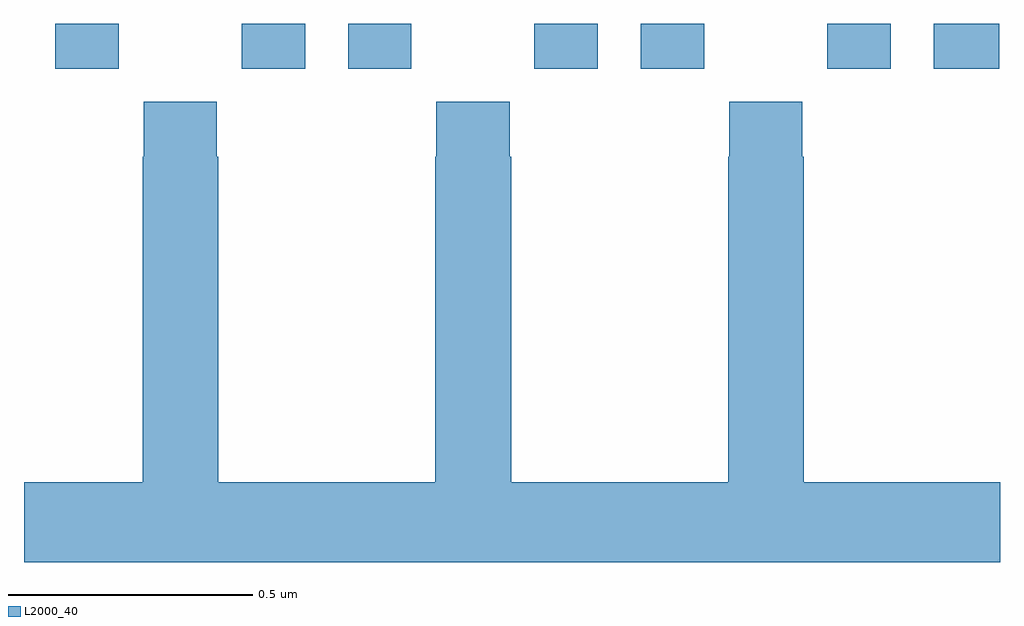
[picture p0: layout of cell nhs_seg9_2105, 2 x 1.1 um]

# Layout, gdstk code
import gdstk
lib = gdstk.Library(unit=1e-6, precision=1e-09)
def R(c, l, rs):  # rectangles x0, y0, x1, y1
    for r in rs: c.add(gdstk.rectangle(r[:2], r[2:], *l))
def P(c, l, *ps):  # polygons
    for p in ps: c.add(gdstk.Polygon(p, *l))
L2000_40 = (2000, 40)

nhs_seg9_2105 = lib.new_cell('nhs_seg9_2105')
R(nhs_seg9_2105, L2000_40, [(136.064,1221.408,136.194,1221.5), (136.446,1221.408,136.576,1221.5), (136.664,1221.408,136.794,1221.5), (137.046,1221.408,137.176,1221.5), (137.264,1221.408,137.394,1221.5), (137.646,1221.408,137.776,1221.5), (137.864,1221.408,137.998,1221.5)])
P(nhs_seg9_2105, L2000_40, [(138,1220.56),(137.598,1220.56),(137.598,1221.227),(137.595,1221.227),(137.595,1221.34),(137.445,1221.34),(137.445,1221.227),(137.443,1221.227),(137.443,1220.56),(136.998,1220.56),(136.998,1221.227),(136.995,1221.227),(136.995,1221.34),(136.845,1221.34),(136.845,1221.227),(136.843,1221.227),(136.843,1220.56),(136.398,1220.56),(136.398,1221.227),(136.395,1221.227),(136.395,1221.34),(136.245,1221.34),(136.245,1221.227),(136.243,1221.227),(136.243,1220.56),(136,1220.56),(136,1220.396),(138,1220.396)])

lib.write_gds('nhs_seg9_2105.gds')
